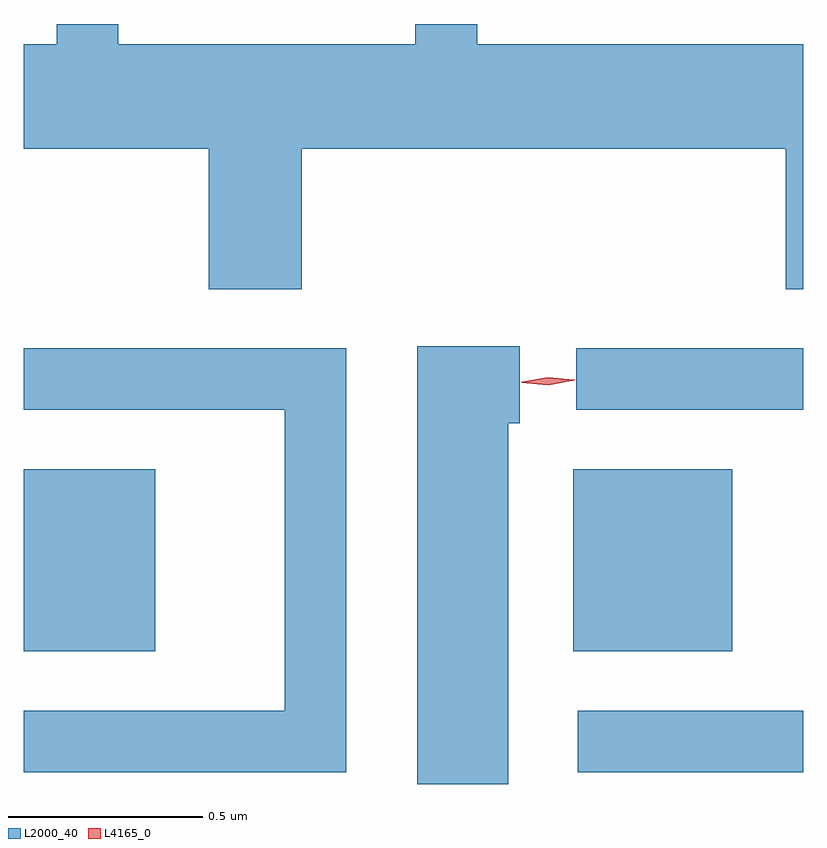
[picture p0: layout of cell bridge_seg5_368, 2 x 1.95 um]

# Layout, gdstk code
import gdstk
lib = gdstk.Library(unit=1e-6, precision=1e-09)
def R(c, l, rs):  # rectangles x0, y0, x1, y1
    for r in rs: c.add(gdstk.rectangle(r[:2], r[2:], *l))
def P(c, l, *ps):  # polygons
    for p in ps: c.add(gdstk.Polygon(p, *l))
L2000_40 = (2000, 40)
L4165_0 = (4165, 0)

bridge_seg5_368 = lib.new_cell('bridge_seg5_368')
R(bridge_seg5_368, L2000_40, [(807.673,1432.996,808.251,1433.154), (806.251,1433.306,806.589,1433.774), (807.661,1433.306,808.069,1433.774), (807.668,1433.926,808.251,1434.084)])
P(bridge_seg5_368, L2000_40, [(806.964,1434.596),(808.206,1434.596),(808.206,1434.236),(808.251,1434.236),(808.251,1434.864),(807.414,1434.864),(807.414,1434.916),(807.256,1434.916),(807.256,1434.864),(806.494,1434.864),(806.494,1434.916),(806.336,1434.916),(806.336,1434.864),(806.251,1434.864),(806.251,1434.596),(806.726,1434.596),(806.726,1434.236),(806.964,1434.236)],
  [(807.494,1433.891),(807.524,1433.891),(807.524,1434.089),(807.261,1434.089),(807.261,1432.966),(807.494,1432.966)],
  [(807.079,1434.084),(806.251,1434.084),(806.251,1433.926),(806.921,1433.926),(806.921,1433.154),(806.251,1433.154),(806.251,1432.996),(807.079,1432.996)])
P(bridge_seg5_368, L4165_0, [(807.596,1433.99),(807.53,1433.997),(807.529,1433.998),(807.53,1433.998),(807.595,1434.01),(807.662,1434.003),(807.662,1434.003),(807.662,1434.002)],
  [(807.597,1433.989),(807.527,1433.995),(807.527,1433.995),(807.527,1433.996),(807.595,1434.009),(807.665,1434.003),(807.665,1434.003),(807.665,1434.002)])

lib.write_gds('bridge_seg5_368.gds')
